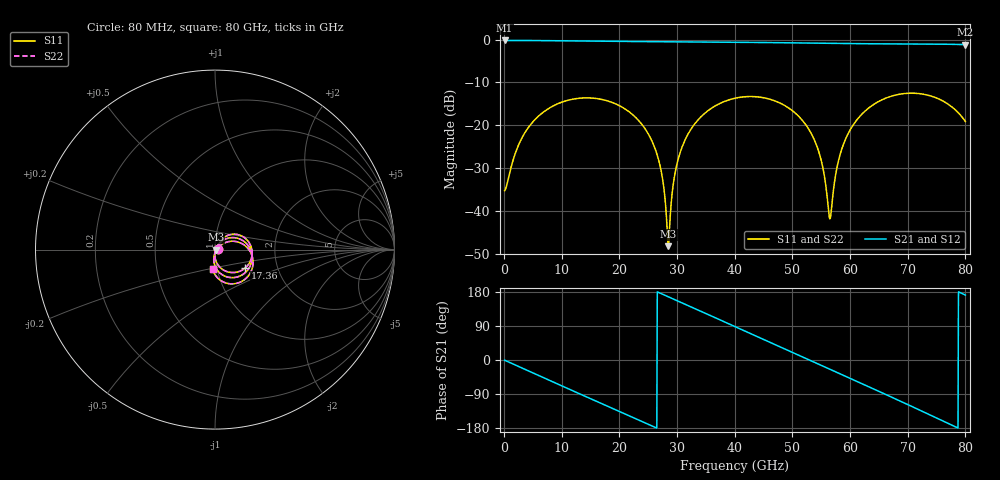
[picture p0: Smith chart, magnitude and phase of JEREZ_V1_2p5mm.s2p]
! TOUCHSTONE file generated by CST MICROWAVE STUDIO
! Date and time: Wed Sep 16 13:43:48 2026
! Project name: DESIGN_JEREZ_V1_suspe_siliconetch_275.cst
! Parameters = {LATERAL2=0.01; GAP=0.00415; L=2.5; L1=0.02; L2=0.18; L3=0.076; NCELL=11; PITCH=0.2; PROCESS=0.001; START_POSITION=0.15; W1=0.002; W2=0.02; W3=0.021; W3A1=0; WG=0.04; buffer_oxidine=0.004; gap_oxide_oxv=0.014; gap_oxr=0.00125; lateral_etch=0.005; linbo3_thickness=0.000275; margine_frr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
! Header version: 2024
! Port assignment regex: !\s*Touchstone port\s*([0-9]+)\s*=\s*(CST MWS port|CST DES external port|CST DES block port)\s*(.+)\s* \(\"(.*)\"\)(\s*mode\s*([0-9]+))?.*
! Touchstone port assignment:
! Touchstone port 1 = CST MWS port 1 ("")
! Touchstone port 2 = CST MWS port 2 ("")
# GHz S MA R 50
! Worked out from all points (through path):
!   1000 points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, 80 MHz to 80 GHz, reference 50 ohm
!   highest |S21| = -0.21 dB at 80 MHz (marker M1); lowest = -1.2 dB at 80 GHz (marker M2)
!   group delay of S21, straight-line fit = 19 ps
!   lowest |S11| = -48.2 dB at 28.48 GHz (marker M3), VSWR 1.01, Z = 50.4 - j0.107 ohm
!   |S11| at or under -10 dB: start of sweep to end of sweep
!   |S22| runs from -48.2 to -12.5 dB; largest |S21 - S12| = 1.7e-06
!   S11 on the Smith chart (normalised r, x): 80 MHz: 1.03, +0.00; 17.36 GHz: 1.37, -0.29; 80 GHz: 0.95, -0.21
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0.08  0.01719 5.5  0.9765 -0.5  0.9765 -0.5  0.01719 5.5
2.4  0.05671 56.2  0.976 -16.4  0.976 -16.4  0.05671 56.2
4.8  0.1058 48.2  0.9744 -32.8  0.9744 -32.8  0.1058 48.2
9.28  0.1778 21.7  0.9691 -63.4  0.9691 -63.4  0.1778 21.7
13.44  0.2077 -5.4  0.9625 -91.7  0.9625 -91.7  0.2077 -5.4
17.36  0.1969 -31.4  0.956 -118.2  0.956 -118.2  0.1969 -31.4
23.28  0.1144 -70.5  0.9479 -158.1  0.9479 -158.1  0.1144 -70.5
26.72  0.04094 -90.3  0.9445 178.7  0.9445 178.7  0.04095 -90.3
28.48  0.003868 -15.9  0.943 166.8  0.943 166.8  0.003884 -16.1
29.84  0.03217 56.1  0.9419 157.6  0.9419 157.6  0.03216 56.1
31.68  0.07402 47.6  0.9405 145.1  0.9405 145.1  0.07401 47.5
35.2  0.145 25.1  0.9377 121.2  0.9377 121.2  0.145 25.1
40.08  0.2068 -7.5  0.9322 87.9  0.9322 87.9  0.2068 -7.5
47.44  0.1866 -56.7  0.9193 37.5  0.9193 37.5  0.1867 -56.7
53.36  0.0777 -93.4  0.907 -3.0  0.907 -3.0  0.0777 -93.4
54.96  0.03961 -98.5  0.904 -13.9  0.904 -13.9  0.03961 -98.5
56.56  0.008156 -21.1  0.9012 -24.8  0.9012 -24.8  0.008154 -21.1
58  0.03881 37.3  0.8991 -34.7  0.8991 -34.7  0.03881 37.3
59.68  0.08017 32.1  0.8969 -46.2  0.8969 -46.2  0.08018 32.1
66.72  0.2135 -11.9  0.8922 -94.7  0.8922 -94.7  0.2135 -11.9
74.08  0.2186 -60.4  0.8873 -146.4  0.8873 -146.4  0.2186 -60.4
80  0.1106 -96.7  0.8736 171.3  0.8736 171.3  0.1106 -96.7
